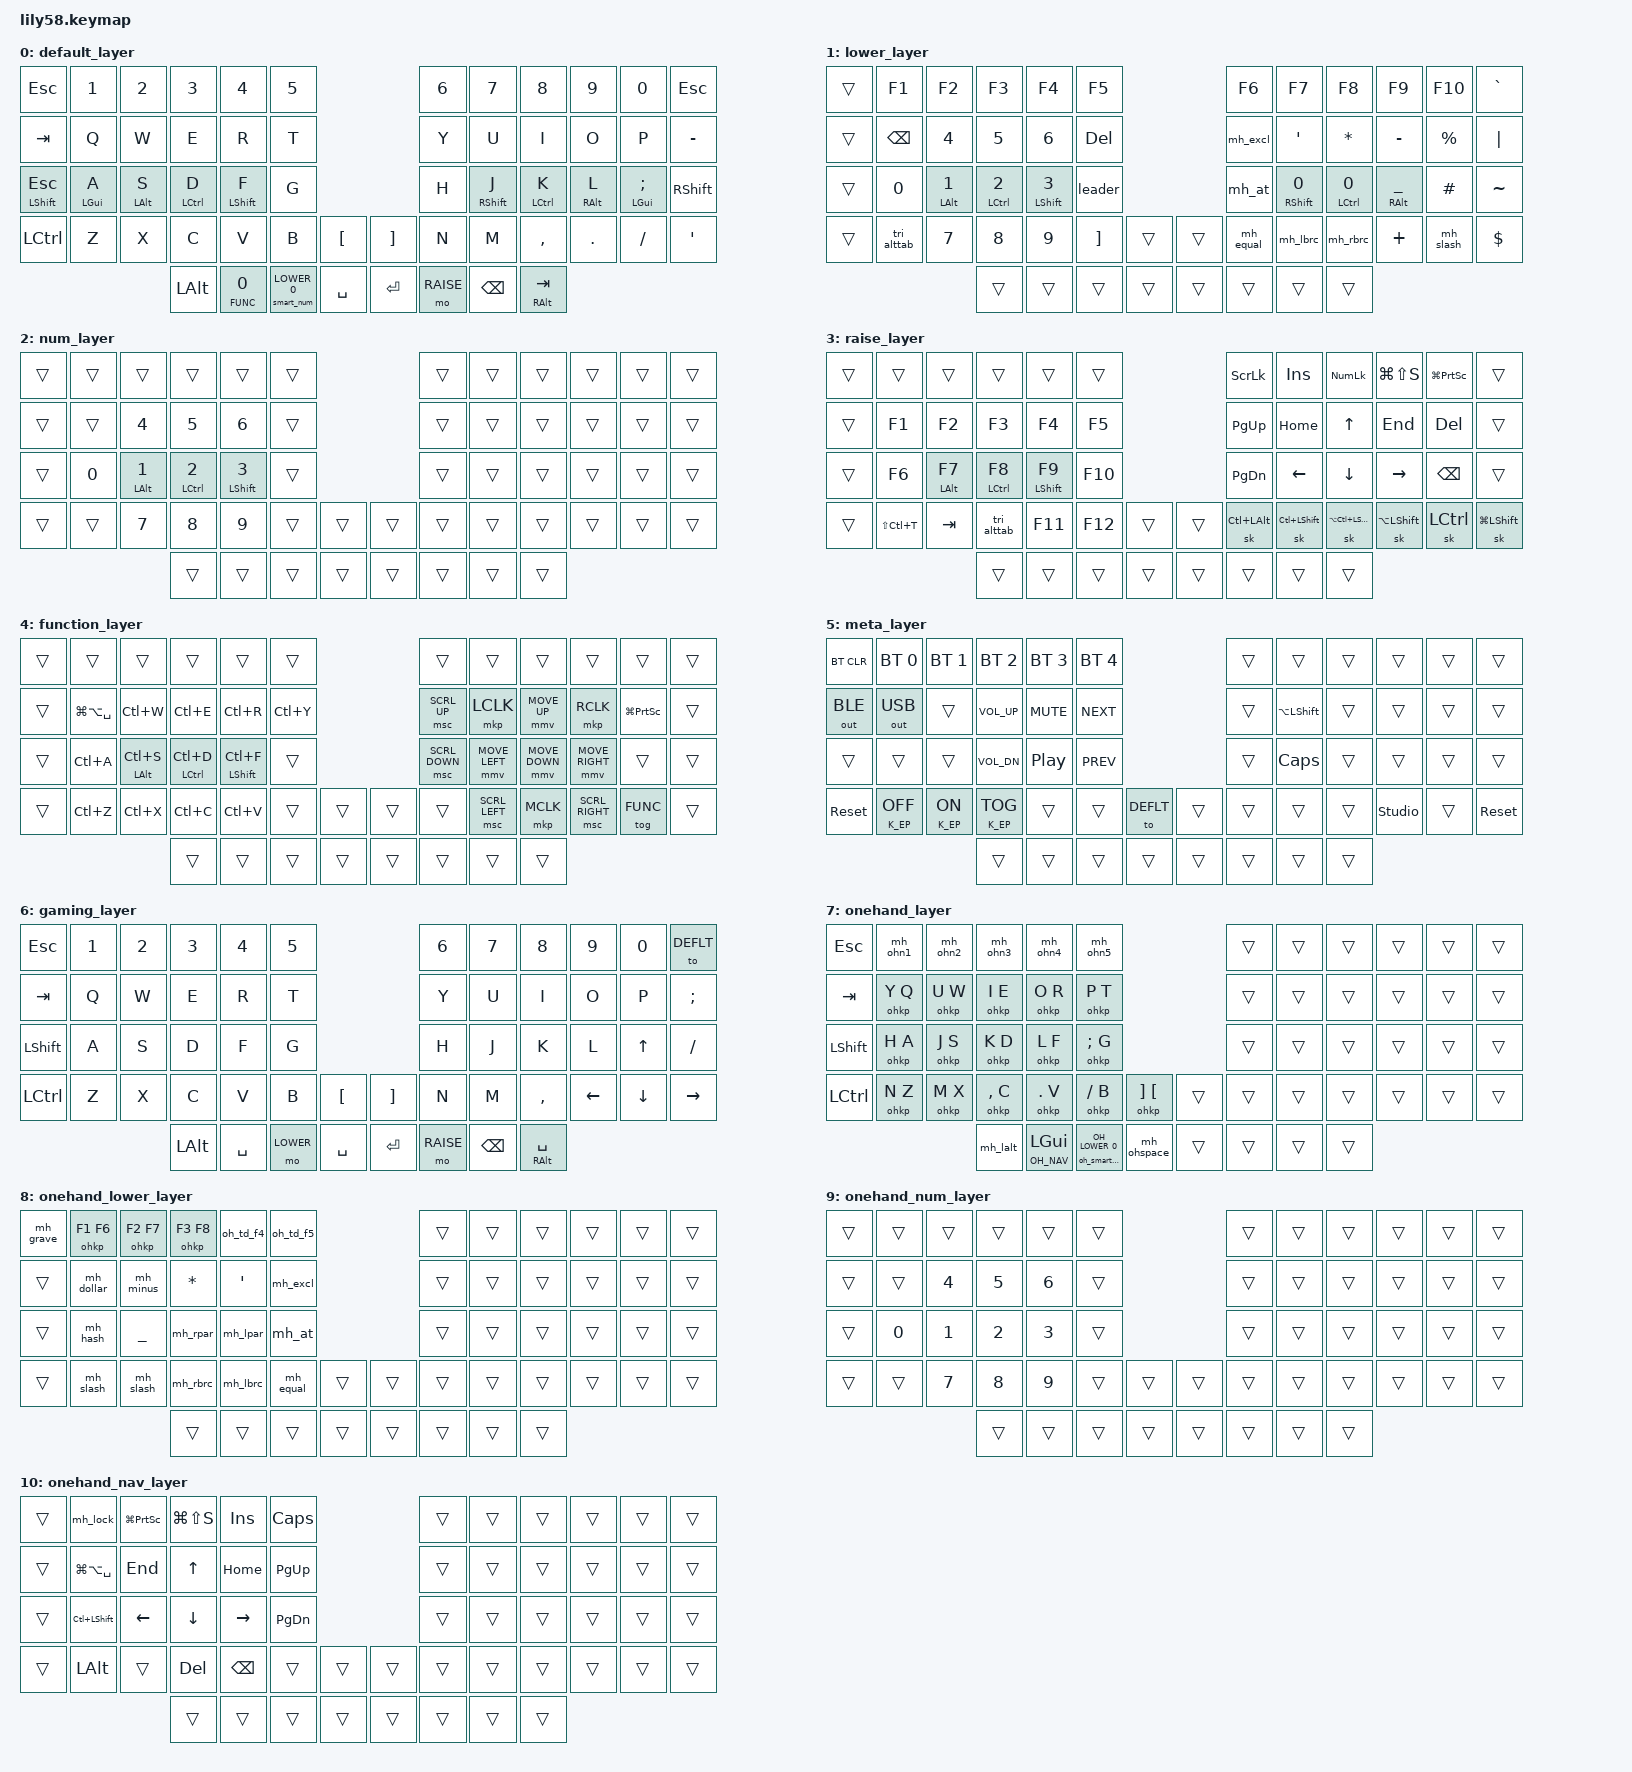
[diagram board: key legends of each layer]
/*
 * Copyright (c) 2020 The ZMK Contributors
 *
 * SPDX-License-Identifier: MIT
 */
// Lookup:
// https://github.com/urob/zmk-config
// https://github.com/folke/zmk-config

#include <behaviors.dtsi>
#include <behaviors/num_word.dtsi> // Requires auto-layer module.
#include <dt-bindings/zmk/bt.h>
#include <dt-bindings/zmk/ext_power.h>
#include <dt-bindings/zmk/keys.h>
#include <dt-bindings/zmk/outputs.h>

#define ZMK_POINTING_DEFAULT_MOVE_VAL 750 /*default: 600*/
#define ZMK_POINTING_DEFAULT_SCRL_VAL 17  /*default: 10*/
#include <dt-bindings/zmk/pointing.h>


#include "keys/58.h"
#include "keys/keys_base.h"
#include "keys/keys_ru.h"

//https://github.com/urob/zmk-helpers
#include "zmk-helpers/helper.h"
#include "zmk-helpers/unicode-chars/greek.dtsi"


#define DEFLT 0
#define LOWER 1
#define NUM   2
#define RAISE 3
#define FUNC  4
#define META  5
#define GAMNG 6
#define OH_DEFLT 7
#define OH_LOWER 8
#define OH_NUM   9
#define OH_NAV   10


#include "include/settings.dtsi"
#include "include/hold_tap.dtsi"
#include "include/morphs.dtsi"
//#include "include/ru_morphs.dtsi"
#include "include/auto_layers.dtsi"
#include "include/combos.dtsi"
#include "include/tap_dance.dtsi"
#include "include/leader.dtsi"
//#include "include/macros.dtsi"
#include "include/other.dtsi"

#define SMART_NUM    &smart_num    NUM 0
#define LWR_SN       &smart_num    LOWER 0
#define OH_SMART_NUM &oh_smart_num OH_NUM 0
#define OH_LWR_SN    &oh_smart_num OH_LOWER 0

#define LT_LGUI_FUNC &lt_lgui FUNC 0

#define LALCLS LA(LC(LSHFT))

/{
   keymap {
      compatible = "zmk,keymap";

      default_layer {
         bindings = <
//╭------------┬------------┬------------┬------------┬------------┬------------┬----------╮ ╭----------┬------------┬------------┬------------┬------------┬------------┬------------╮
   &kp ESC      &kp N1       &kp N2       &kp N3       &kp N4       &kp N5                               &kp N6       &kp N7       &kp N8       &kp N9       &kp N0       &kp ESC
//├------------┼------------┼------------┼------------┼------------┼------------┤          | |          ├------------┼------------┼------------┼------------┼------------┼------------┤
   &kp TAB      &kp Q        &kp W        &kp E        &kp R        &kp T                                &kp Y        &kp U        &kp I        &kp O        &kp P        &kp MINUS
//├------------┼------------┼------------┼------------┼------------┼------------┤          | |          ├------------┼------------┼------------┼------------┼------------┼------------┤
   &ht_tp LSHIFT ESC &hml LGUI A &hml LALT S &hml LCTRL D &hml LSHIFT F &kp G                            &kp H        &hmr RSHIFT J &hmr LCTRL K &hmr RALT L &hmr LGUI SEMI &kp RSHIFT
//├------------┼------------┼------------┼------------┼------------┼------------┼----------┤ ├----------┼------------┼------------┼------------┼------------┼------------┼------------┤
   &kp LCTRL    &kp Z        &kp X        &kp C        &kp V        &kp B        &kp LBKT     &kp RBKT   &kp N        &kp M        &kp COMMA    &kp DOT      &kp FSLH     &kp SQT
//╰------------┴------------┴------------┼------------┼------------┼------------┼----------┤ ├----------┼------------┼------------┼------------┼------------┴------------┴------------╯
                                          &kp LALT     LT_LGUI_FUNC LWR_SN       &kp SPACE    &kp RET    &mo RAISE    &kp BSPC     &mt RALT TAB
//                                       ╰------------┴------------┴------------┴----------╯ ╰----------┴------------┴------------┴------------╯
         >;
      };

      lower_layer {
         bindings = <
//╭------------┬------------┬------------┬------------┬------------┬------------┬----------╮ ╭----------┬------------┬------------┬------------┬------------┬------------┬------------╮
   &trans       &kp F1       &kp F2       &kp F3       &kp F4       &kp F5                               &kp F6       &kp F7       &kp F8       &kp F9       &kp F10      &kp GRAVE
//├------------┼------------┼------------┼------------┼------------┼------------┤          | |          ├------------┼------------┼------------┼------------┼------------┼------------┤
   &trans       &kp BSPC     &kp N4       &kp N5       &kp N6       &kp DEL                              &mh_excl     &kp SQT      &kp ASTRK    &kp MINUS    &kp PRCNT    &kp PIPE
//├------------┼------------┼------------┼------------┼------------┼------------┤          | |          ├------------┼------------┼------------┼------------┼------------┼------------┤
   &trans       &kp N0       &hml LALT N1 &hml LCTRL N2 &hml LSHIFT N3 &leader                           &mh_at  &hmr_lpar RSHIFT 0 &hmr_rpar LCTRL 0 &hmr RALT UNDER &kp HASH &kp TILDE
//├------------┼------------┼------------┼------------┼------------┼------------┼----------┤ ├----------┼------------┼------------┼------------┼------------┼------------┼------------┤
   &trans       &tri_alttab  &kp N7       &kp N8       &kp N9       &kp RBKT     &trans       &trans     &mh_equal    &mh_lbrc     &mh_rbrc     &kp PLUS     &mh_slash    &kp DOLLAR
//╰------------┴------------┴------------┼------------┼------------┼------------┼----------┤ ├----------┼------------┼------------┼------------┼------------┴------------┴------------╯
                                          &trans       &trans       &trans       &trans       &trans     &trans       &trans       &trans
//                                       ╰------------┴------------┴------------┴----------╯ ╰----------┴------------┴------------┴------------╯
         >;
      };
      
      num_layer {
         bindings = <
//╭------------┬------------┬------------┬------------┬------------┬------------┬----------╮ ╭----------┬------------┬------------┬------------┬------------┬------------┬------------╮
   &trans       &trans       &trans       &trans       &trans       &trans                               &trans       &trans       &trans       &trans       &trans       &trans
//├------------┼------------┼------------┼------------┼------------┼------------┤          | |          ├------------┼------------┼------------┼------------┼------------┼------------┤
   &trans       &trans       &kp N4       &kp N5       &kp N6       &trans                               &trans       &trans       &trans       &trans       &trans       &trans
//├------------┼------------┼------------┼------------┼------------┼------------┤          | |          ├------------┼------------┼------------┼------------┼------------┼------------┤
   &trans       &kp N0       &hml LALT N1 &hml LCTRL N2 &hml LSHIFT N3 &trans                            &trans       &trans       &trans       &trans       &trans       &trans
//├------------┼------------┼------------┼------------┼------------┼------------┼----------┤ ├----------┼------------┼------------┼------------┼------------┼------------┼------------┤
   &trans       &trans       &kp N7       &kp N8       &kp N9       &trans       &trans       &trans     &trans       &trans       &trans       &trans       &trans       &trans
//╰------------┴------------┴------------┼------------┼------------┼------------┼----------┤ ├----------┼------------┼------------┼------------┼------------┴------------┴------------╯
                                          &trans       &trans       &trans       &trans       &trans     &trans       &trans       &trans
//                                       ╰------------┴------------┴------------┴----------╯ ╰----------┴------------┴------------┴------------╯
         >;
      };

      raise_layer {
         bindings = <
//╭------------┬------------┬------------┬------------┬------------┬------------┬----------╮ ╭----------┬------------┬------------┬------------┬------------┬------------┬------------╮
   &trans       &trans       &trans       &trans       &trans       &trans                               &kp SLCK     &kp INS      &kp KP_NLCK  &kp LG(LS(S)) &kp LG(PSCRN) &trans
//├------------┼------------┼------------┼------------┼------------┼------------┤          | |          ├------------┼------------┼------------┼------------┼------------┼------------┤
   &trans       &kp F1       &kp F2       &kp F3       &kp F4       &kp F5                               &kp PG_UP    &kp HOME     &kp UP       &kp END      &kp DEL      &trans
//├------------┼------------┼------------┼------------┼------------┼------------┤          | |          ├------------┼------------┼------------┼------------┼------------┼------------┤
   &trans       &kp F6       &hml LALT F7 &hml LCTRL F8 &hml LSHIFT F9 &kp F10                           &kp PG_DN    &kp LEFT     &kp DOWN     &kp RIGHT    &kp BSPC     &trans
//├------------┼------------┼------------┼------------┼------------┼------------┼----------┤ ├----------┼------------┼------------┼------------┼------------┼------------┼------------┤
   &trans       &kp LS(LC(T)) &kp TAB     &tri_alttab  &kp F11      &kp F12      &trans       &trans     &sk LC(LALT) &sk LC(LSHFT) &sk LALCLS  &sk LA(LSHFT) &sk LCTRL   &sk LG(LSHFT)   
//╰------------┴------------┴------------┼------------┼------------┼------------┼----------┤ ├----------┼------------┼------------┼------------┼------------┴------------┴------------╯
                                          &trans       &trans       &trans       &trans       &trans     &trans       &trans       &trans
//                                       ╰------------┴------------┴------------┴----------╯ ╰----------┴------------┴------------┴------------╯
         >;
      };

      function_layer {
         bindings = <
//╭------------┬------------┬------------┬------------┬------------┬------------┬----------╮ ╭----------┬------------┬------------┬------------┬------------┬------------┬------------╮
   &trans       &trans       &trans       &trans       &trans       &trans                               &trans       &trans       &trans       &trans       &trans       &trans
//├------------┼------------┼------------┼------------┼------------┼------------┤          | |          ├------------┼------------┼------------┼------------┼------------┼------------┤
   &trans       &kp LG(LA(SPACE)) &kp LC(W) &kp LC(E)  &kp LC(R)    &kp LC(Y)                            &msc SCRL_UP &mkp LCLK    &mmv MOVE_UP &mkp RCLK    &kp LG(PSCRN) &trans
//├------------┼------------┼------------┼------------┼------------┼------------┤          | |          ├------------┼------------┼------------┼------------┼------------┼------------┤
   &trans       &kp LC(A)  &hml LALT LC(S) &hml LCTRL LC(D) &hml LSHIFT LC(F) &trans                     &msc SCRL_DOWN &mmv MOVE_LEFT &mmv MOVE_DOWN &mmv MOVE_RIGHT &trans &trans
//├------------┼------------┼------------┼------------┼------------┼------------┼----------┤ ├----------┼------------┼------------┼------------┼------------┼------------┼------------┤
   &trans       &kp LC(Z)    &kp LC(X)    &kp LC(C)    &kp LC(V)    &trans       &trans       &trans     &trans      &msc SCRL_LEFT &mkp MCLK &msc SCRL_RIGHT &tog FUNC   &trans   
//╰------------┴------------┴------------┼------------┼------------┼------------┼----------┤ ├----------┼------------┼------------┼------------┼------------┴------------┴------------╯
                                          &trans       &trans       &trans       &trans       &trans       &trans     &trans       &trans
//                                       ╰------------┴------------┴------------┴----------╯ ╰----------┴------------┴------------┴------------╯
         >;
      };

#define K_EP ext_power

      meta_layer {
         bindings = <
//╭------------┬------------┬------------┬------------┬------------┬------------┬----------╮ ╭----------┬------------┬------------┬------------┬------------┬------------┬------------╮
   &bt BT_CLR   &bt BT_SEL 0 &bt BT_SEL 1 &bt BT_SEL 2 &bt BT_SEL 3 &bt BT_SEL 4                         &trans       &trans       &trans       &trans       &trans       &trans
//├------------┼------------┼------------┼------------┼------------┼------------┤          | |          ├------------┼------------┼------------┼------------┼------------┼------------┤
   &out OUT_BLE &out OUT_USB &trans       &kp C_VOL_UP &kp C_MUTE   &kp C_NEXT                           &trans       &kp LA(LSHFT) &trans      &trans       &trans       &trans
//├------------┼------------┼------------┼------------┼------------┼------------┤          | |          ├------------┼------------┼------------┼------------┼------------┼------------┤
   &trans       &trans       &trans       &kp C_VOL_DN &kp C_PLAY_PAUSE &kp C_PREV                       &trans       &kp CAPSLOCK &trans       &trans       &trans       &trans
//├------------┼------------┼------------┼------------┼------------┼------------┼----------┤ ├----------┼------------┼------------┼------------┼------------┼------------┼------------┤
   &sys_reset   &K_EP EP_OFF &K_EP EP_ON  &K_EP EP_TOG &trans       &trans       &to DEFLT    &trans     &trans       &trans       &trans       &studio_unlock &trans     &sys_reset
//╰------------┴------------┴------------┼------------┼------------┼------------┼----------┤ ├----------┼------------┼------------┼------------┼------------┴------------┴------------╯
                                          &trans       &trans       &trans       &trans       &trans     &trans       &trans       &trans
//                                       ╰------------┴------------┴------------┴----------╯ ╰----------┴------------┴------------┴------------╯
         >;
      };

      gaming_layer {
         bindings = <
////╭------------┬------------┬------------┬------------┬------------┬------------┬----------╮ ╭----------┬------------┬------------┬------------┬------------┬------------┬------------╮
//   &kp ESC      &kp N1       &kp N2       &kp N3       &kp N4       &kp N5                               &kp N6       &kp N7       &kp N8       &kp N9       &kp N0       &to 0
////├------------┼------------┼------------┼------------┼------------┼------------┤          | |          ├------------┼------------┼------------┼------------┼------------┼------------┤
//   &kp GRAVE    &kp TAB      &kp Q        &kp W        &kp E        &kp R                                &kp T        &kp Y        &kp U        &kp I        &kp O        &kp P
////├------------┼------------┼------------┼------------┼------------┼------------┤          | |          ├------------┼------------┼------------┼------------┼------------┼------------┤
//   &kp SEMI     &kp LSHFT    &kp A        &kp S        &kp D        &kp F                                &kp G        &kp H        &kp J        &kp K        &kp UP       &kp L
////├------------┼------------┼------------┼------------┼------------┼------------┼----------┤ ├----------┼------------┼------------┼------------┼------------┼------------┼------------┤
//   &kp FSLH     &kp LCTRL    &kp Z        &kp X        &kp C        &kp V        &kp LBKT     &kp RBKT   &kp B        &kp N        &kp M        &kp LEFT     &kp DOWN     &kp RIGHT
////╰------------┴------------┴------------┼------------┼------------┼------------┼----------┤ ├----------┼------------┼------------┼------------┼------------┴------------┴------------╯
//                                          &kp LALT     &kp SPACE    &trans       &kp SPACE    &kp RET    &trans       &kp BSPC     &mo 0
////                                       ╰------------┴------------┴------------┴----------╯ ╰----------┴------------┴------------┴------------╯

//╭------------┬------------┬------------┬------------┬------------┬------------┬----------╮ ╭----------┬------------┬------------┬------------┬------------┬------------┬------------╮
   &kp ESC      &kp N1       &kp N2       &kp N3       &kp N4       &kp N5                               &kp N6       &kp N7       &kp N8       &kp N9       &kp N0       &to DEFLT
//├------------┼------------┼------------┼------------┼------------┼------------┤          | |          ├------------┼------------┼------------┼------------┼------------┼------------┤
   &kp TAB      &kp Q        &kp W        &kp E        &kp R        &kp T                                &kp Y        &kp U        &kp I        &kp O        &kp P        &kp SEMI
//├------------┼------------┼------------┼------------┼------------┼------------┤          | |          ├------------┼------------┼------------┼------------┼------------┼------------┤
   &kp LSHIFT   &kp A        &kp S        &kp D        &kp F        &kp G                                &kp H        &kp J        &kp K        &kp L        &kp UP       &kp FSLH
//├------------┼------------┼------------┼------------┼------------┼------------┼----------┤ ├----------┼------------┼------------┼------------┼------------┼------------┼------------┤
   &kp LCTRL    &kp Z        &kp X        &kp C        &kp V        &kp B        &kp LBKT     &kp RBKT   &kp N        &kp M        &kp COMMA    &kp LEFT     &kp DOWN     &kp RIGHT
//╰------------┴------------┴------------┼------------┼------------┼------------┼----------┤ ├----------┼------------┼------------┼------------┼------------┴------------┴------------╯
                                          &kp LALT     &kp SPACE    &mo LOWER    &kp SPACE    &kp RET    &mo RAISE    &kp BSPC     &mt RALT SPACE
//                                       ╰------------┴------------┴------------┴----------╯ ╰----------┴------------┴------------┴------------╯
         >;
      };


      onehand_layer {
         bindings = <
//╭------------┬------------┬------------┬------------┬------------┬------------┬----------╮ ╭----------┬------------┬------------┬------------┬------------┬------------┬------------╮
   &kp ESC      &mh_ohn1     &mh_ohn2     &mh_ohn3     &mh_ohn4     &mh_ohn5                             &trans       &trans       &trans       &trans       &trans       &trans
//├------------┼------------┼------------┼------------┼------------┼------------┤          | |          ├------------┼------------┼------------┼------------┼------------┼------------┤
   &kp TAB      &ohkp Y Q    &ohkp U W    &ohkp I E    &ohkp O R    &ohkp P T                            &trans       &trans       &trans       &trans       &trans       &trans
//├------------┼------------┼------------┼------------┼------------┼------------┤          | |          ├------------┼------------┼------------┼------------┼------------┼------------┤
   &kp LSHIFT   &ohkp H A    &ohkp J S    &ohkp K D    &ohkp L F    &ohkp SEMI G                         &trans       &trans       &trans       &trans       &trans       &trans
//├------------┼------------┼------------┼------------┼------------┼------------┼----------┤ ├----------┼------------┼------------┼------------┼------------┼------------┼------------┤
   &kp LCTRL    &ohkp N Z    &ohkp M X    &ohkp COMMA C &ohkp DOT V &ohkp FSLH B &ohkp RBKT LBKT &trans  &trans       &trans       &trans       &trans       &trans       &trans
//╰------------┴------------┴------------┼------------┼------------┼------------┼----------┤ ├----------┼------------┼------------┼------------┼------------┴------------┴------------╯
                                          &mh_lalt     &lt OH_NAV LGUI OH_LWR_SN &mh_ohspace  &trans     &trans       &trans       &trans
//                                       ╰------------┴------------┴------------┴----------╯ ╰----------┴------------┴------------┴------------╯
         >;
      };

      onehand_lower_layer {
         bindings = <
//╭------------┬------------┬------------┬------------┬------------┬------------┬----------╮ ╭----------┬------------┬------------┬------------┬------------┬------------┬------------╮
   &mh_grave    &ohkp F1 F6  &ohkp F2 F7  &ohkp F3 F8  &oh_td_f4    &oh_td_f5                            &trans       &trans       &trans       &trans       &trans       &trans
//├------------┼------------┼------------┼------------┼------------┼------------┤          | |          ├------------┼------------┼------------┼------------┼------------┼------------┤
   &trans       &mh_dollar   &mh_minus    &kp ASTRK    &kp SQT      &mh_excl                             &trans       &trans       &trans       &trans       &trans       &trans
//├------------┼------------┼------------┼------------┼------------┼------------┤          | |          ├------------┼------------┼------------┼------------┼------------┼------------┤
   &trans       &mh_hash     &kp UNDER    &mh_rpar     &mh_lpar     &mh_at                               &trans       &trans       &trans       &trans       &trans       &trans
//├------------┼------------┼------------┼------------┼------------┼------------┼----------┤ ├----------┼------------┼------------┼------------┼------------┼------------┼------------┤
   &trans       &mh_slash    &mh_slash    &mh_rbrc     &mh_lbrc     &mh_equal    &trans       &trans     &trans       &trans       &trans       &trans       &trans       &trans
//╰------------┴------------┴------------┼------------┼------------┼------------┼----------┤ ├----------┼------------┼------------┼------------┼------------┴------------┴------------╯
                                          &trans       &trans       &trans       &trans       &trans     &trans       &trans       &trans
//                                       ╰------------┴------------┴------------┴----------╯ ╰----------┴------------┴------------┴------------╯
         >;
      };

      onehand_num_layer {
         bindings = <
//╭------------┬------------┬------------┬------------┬------------┬------------┬----------╮ ╭----------┬------------┬------------┬------------┬------------┬------------┬------------╮
   &trans       &trans       &trans       &trans       &trans       &trans                               &trans       &trans       &trans       &trans       &trans       &trans
//├------------┼------------┼------------┼------------┼------------┼------------┤          | |          ├------------┼------------┼------------┼------------┼------------┼------------┤
   &trans       &trans       &kp N4       &kp N5       &kp N6       &trans                               &trans       &trans       &trans       &trans       &trans       &trans
//├------------┼------------┼------------┼------------┼------------┼------------┤          | |          ├------------┼------------┼------------┼------------┼------------┼------------┤
   &trans       &kp N0       &kp N1       &kp N2       &kp N3       &trans                               &trans       &trans       &trans       &trans       &trans       &trans
//├------------┼------------┼------------┼------------┼------------┼------------┼----------┤ ├----------┼------------┼------------┼------------┼------------┼------------┼------------┤
   &trans       &trans       &kp N7       &kp N8       &kp N9       &trans       &trans       &trans     &trans       &trans       &trans       &trans       &trans       &trans
//╰------------┴------------┴------------┼------------┼------------┼------------┼----------┤ ├----------┼------------┼------------┼------------┼------------┴------------┴------------╯
                                          &trans       &trans       &trans       &trans       &trans     &trans       &trans       &trans
//                                       ╰------------┴------------┴------------┴----------╯ ╰----------┴------------┴------------┴------------╯
         >;
      };

      onehand_nav_layer {
         bindings = <
//╭------------┬------------┬------------┬------------┬------------┬------------┬----------╮ ╭----------┬------------┬------------┬------------┬------------┬------------┬------------╮
   &trans       &mh_lock     &kp LG(PSCRN) &kp LG(LS(S)) &kp INS    &kp CAPSLOCK                         &trans       &trans       &trans       &trans       &trans       &trans
//├------------┼------------┼------------┼------------┼------------┼------------┤          | |          ├------------┼------------┼------------┼------------┼------------┼------------┤
   &trans       &kp LG(LA(SPACE)) &kp END &kp UP       &kp HOME     &kp PG_UP                            &trans       &trans       &trans       &trans       &trans       &trans
//├------------┼------------┼------------┼------------┼------------┼------------┤          | |          ├------------┼------------┼------------┼------------┼------------┼------------┤
   &trans       &kp LC(LSHIFT) &kp LEFT   &kp DOWN     &kp RIGHT    &kp PG_DN                            &trans       &trans       &trans       &trans       &trans       &trans
//├------------┼------------┼------------┼------------┼------------┼------------┼----------┤ ├----------┼------------┼------------┼------------┼------------┼------------┼------------┤
   &trans       &kp LALT     &trans       &kp DEL      &kp BSPC     &trans       &trans       &trans     &trans       &trans       &trans       &trans       &trans       &trans
//╰------------┴------------┴------------┼------------┼------------┼------------┼----------┤ ├----------┼------------┼------------┼------------┼------------┴------------┴------------╯
                                          &trans       &trans       &trans       &trans       &trans     &trans       &trans       &trans
//                                       ╰------------┴------------┴------------┴----------╯ ╰----------┴------------┴------------┴------------╯
         >;
      };

   };


   conditional_layers {
      compatible = "zmk,conditional-layers";

      meta_layer_condition {
         if-layers = <LOWER RAISE>;
         then-layer = <META>;
      };

      onehand_meta_layer_condition {
         if-layers = <OH_NAV OH_LOWER>;
         then-layer = <META>;
      };
   };

   
};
